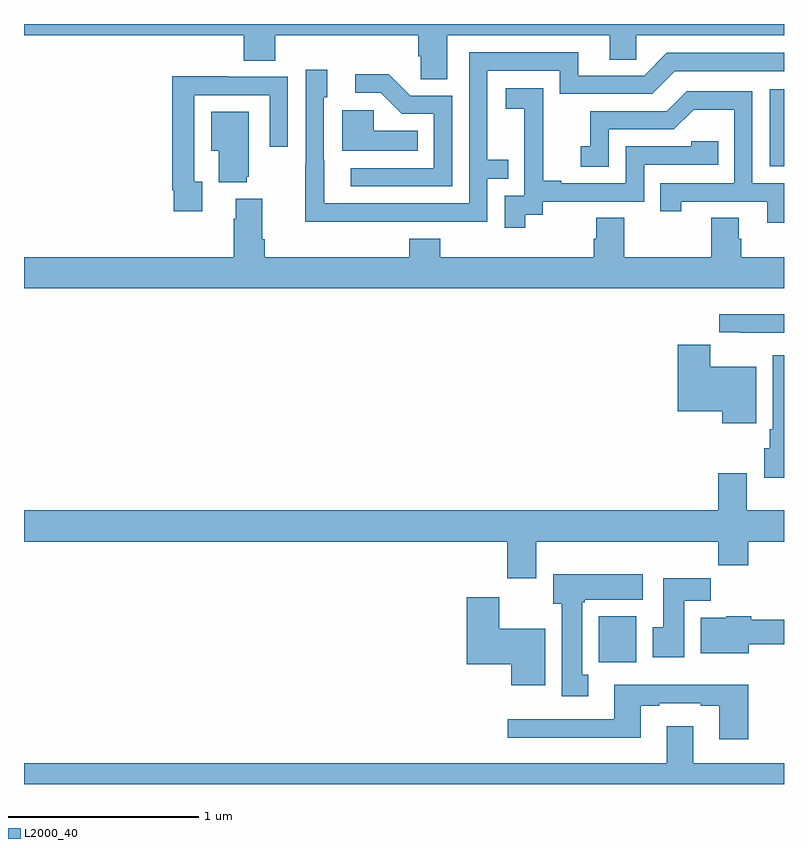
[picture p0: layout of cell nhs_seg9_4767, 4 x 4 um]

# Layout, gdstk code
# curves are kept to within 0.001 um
import gdstk
lib = gdstk.Library(unit=1e-6, precision=1e-09)
def R(c, l, rs):  # rectangles x0, y0, x1, y1
    for r in rs: c.add(gdstk.rectangle(r[:2], r[2:], *l))
def P(c, l, *ps):  # polygons
    for p in ps: c.add(gdstk.Polygon(p, *l))
L2000_40 = (2000, 40)

nhs_seg9_4767 = lib.new_cell('nhs_seg9_4767')
R(nhs_seg9_4767, L2000_40, [(390.026,1173.14,390.223,1173.382), (390.924,1175.751,391,1176.157)])
P(nhs_seg9_4767, L2000_40, [(389.227,1176.44),(390.083,1176.44),(390.083,1176.313),(390.222,1176.313),(390.222,1176.44),(391,1176.44),(391,1176.5),(387,1176.5),(387,1176.44),(388.157,1176.44),(388.157,1176.307),(388.322,1176.307),(388.322,1176.44),(389.075,1176.44),(389.075,1176.331),(389.088,1176.331),(389.088,1176.208),(389.227,1176.208)],
  [(388.943,1175.46),(389.439,1175.46),(389.439,1175.685),(389.549,1175.685),(389.549,1175.786),(389.439,1175.786),(389.439,1176.255),(389.82,1176.255),(389.82,1176.132),(390.306,1176.132),(390.426,1176.252),(391,1176.252),(391,1176.348),(390.384,1176.348),(390.264,1176.228),(389.917,1176.228),(389.917,1176.351),(389.343,1176.351),(389.343,1175.556),(388.579,1175.556),(388.578,1176.114),(388.597,1176.114),(388.597,1176.259),(388.482,1176.259),(388.482,1175.765),(388.48,1175.765),(388.48,1175.459)],
  [(389.253,1176.123),(389.034,1176.123),(388.921,1176.236),(388.743,1176.236),(388.743,1176.138),(388.877,1176.138),(388.988,1176.027),(389.157,1176.027),(389.157,1175.742),(388.719,1175.742),(388.719,1175.646),(389.253,1175.646)],
  [(387.937,1175.67),(387.897,1175.67),(387.897,1176.126),(388.293,1176.126),(388.293,1175.853),(388.389,1175.853),(388.389,1176.222),(388.073,1176.222),(388.073,1176.224),(387.781,1176.224),(387.781,1175.626),(387.789,1175.626),(387.789,1175.514),(387.937,1175.514)],
  [(389.638,1175.497),(389.73,1175.497),(389.73,1175.565),(390.264,1175.565),(390.264,1175.76),(390.653,1175.76),(390.653,1175.883),(390.513,1175.883),(390.513,1175.856),(390.168,1175.856),(390.168,1175.661),(389.827,1175.661),(389.827,1175.674),(389.732,1175.674),(389.732,1175.957),(389.733,1175.957),(389.733,1176.163),(389.535,1176.163),(389.535,1176.053),(389.633,1176.053),(389.633,1175.825),(389.634,1175.825),(389.634,1175.595),(389.529,1175.595),(389.529,1175.427),(389.638,1175.427)],
  [(391,1175.661),(390.834,1175.661),(390.834,1176.147),(390.488,1176.147),(390.383,1176.042),(389.98,1176.042),(389.98,1175.857),(389.931,1175.857),(389.931,1175.748),(390.078,1175.748),(390.078,1175.946),(390.42,1175.946),(390.524,1176.05),(390.738,1176.05),(390.738,1175.661),(390.349,1175.661),(390.349,1175.514),(390.46,1175.514),(390.46,1175.565),(390.911,1175.565),(390.911,1175.454),(391,1175.454)],
  [(389.072,1175.938),(388.842,1175.938),(388.842,1176.046),(388.676,1176.046),(388.676,1175.834),(389.072,1175.834)],
  [(388.172,1175.697),(388.183,1175.697),(388.183,1176.037),(387.986,1176.037),(387.986,1175.834),(388.025,1175.834),(388.025,1175.666),(388.172,1175.666)],
  [(391,1175.272),(390.776,1175.272),(390.776,1175.37),(390.763,1175.37),(390.763,1175.48),(390.616,1175.48),(390.616,1175.272),(390.159,1175.272),(390.159,1175.48),(390.011,1175.48),(390.011,1175.37),(389.999,1175.37),(389.999,1175.272),(389.192,1175.272),(389.192,1175.371),(389.027,1175.371),(389.027,1175.272),(388.268,1175.272),(388.268,1175.368),(388.255,1175.368),(388.255,1175.581),(388.115,1175.581),(388.115,1175.474),(388.103,1175.474),(388.103,1175.272),(387,1175.272),(387,1175.108),(391,1175.108)],
  [(391,1174.972),(390.66,1174.972),(390.66,1174.877),(390.769,1174.877),(390.769,1174.875),(391,1174.875)],
  [(390.853,1174.696),(390.613,1174.696),(390.613,1174.812),(390.44,1174.812),(390.44,1174.463),(390.674,1174.463),(390.674,1174.4),(390.853,1174.4)],
  [(391,1174.756),(390.941,1174.756),(390.941,1174.366),(390.926,1174.366),(390.926,1174.266),(390.896,1174.266),(390.896,1174.112),(391,1174.112)],
  [(389.695,1173.776),(390.655,1173.776),(390.655,1173.652),(390.812,1173.652),(390.812,1173.776),(391,1173.776),(391,1173.94),(390.805,1173.94),(390.805,1174.135),(390.653,1174.135),(390.653,1173.94),(387,1173.94),(387,1173.776),(389.543,1173.776),(389.543,1173.582),(389.695,1173.582)],
  [(389.971,1173.074),(389.938,1173.074),(389.938,1173.457),(389.952,1173.457),(389.952,1173.47),(390.256,1173.47),(390.256,1173.604),(389.786,1173.604),(389.786,1173.45),(389.831,1173.45),(389.831,1172.961),(389.971,1172.961)],
  [(390.475,1173.464),(390.614,1173.464),(390.614,1173.583),(390.365,1173.583),(390.365,1173.324),(390.308,1173.324),(390.308,1173.168),(390.475,1173.168)],
  [(389.743,1173.316),(389.5,1173.316),(389.5,1173.484),(389.33,1173.484),(389.33,1173.131),(389.564,1173.131),(389.564,1173.02),(389.743,1173.02)],
  [(390.814,1173.235),(391,1173.235),(391,1173.364),(390.827,1173.364),(390.827,1173.382),(390.696,1173.382),(390.696,1173.376),(390.563,1173.376),(390.563,1173.188),(390.814,1173.188)],
  [(390.812,1173.022),(390.107,1173.022),(390.107,1172.841),(389.547,1172.841),(389.547,1172.744),(390.247,1172.744),(390.247,1172.913),(390.343,1172.913),(390.343,1172.925),(390.563,1172.925),(390.563,1172.913),(390.659,1172.913),(390.659,1172.736),(390.812,1172.736)],
  [(391,1172.608),(390.523,1172.608),(390.523,1172.803),(390.383,1172.803),(390.383,1172.608),(387,1172.608),(387,1172.5),(391,1172.5)])

lib.write_gds('nhs_seg9_4767.gds')
